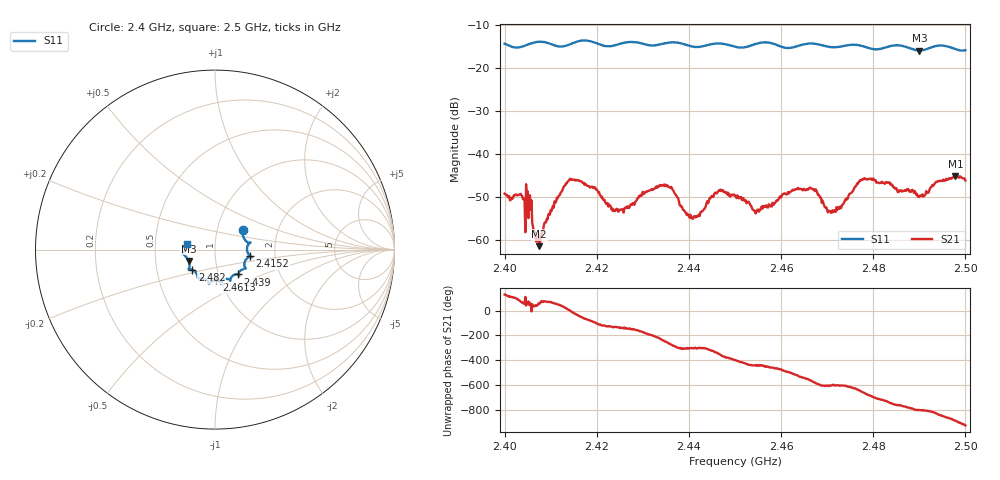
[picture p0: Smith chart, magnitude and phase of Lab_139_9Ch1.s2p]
# Hz S RI R 50
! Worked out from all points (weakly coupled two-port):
!   601 points, 2.4 GHz to 2.5 GHz, reference 50 ohm
!   highest |S21| = -45.16 dB at 2.4978 GHz (marker M1); lowest = -61.5 dB at 2.4075 GHz (marker M2)
!   lowest |S11| = -15.9 dB at 2.49 GHz (marker M3), VSWR 1.38, Z = 36.9 - j4.8 ohm
!   |S11| at or under -10 dB: start of sweep to end of sweep
!   S12 and S22 are empty: the file has one direction only
!   S11 on the Smith chart (normalised r, x): 2.4 GHz: 1.33, +0.31; 2.4152 GHz: 1.48, -0.11; 2.439 GHz: 1.24, -0.36; 2.4613 GHz: 0.96, -0.34; 2.482 GHz: 0.76, -0.18; 2.5 GHz: 0.73, +0.05
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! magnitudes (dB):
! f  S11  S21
! 2.4 GHz  -14.3  -49.3
! 2.4052 GHz  -14.5  -55.0
! 2.4075 GHz  -13.9  -61.5
! 2.4128 GHz  -14.9  -47.7
! 2.4152 GHz  -14.1  -46.0
! 2.4167 GHz  -13.6  -46.5
! 2.4243 GHz  -14.6  -52.8
! 2.4333 GHz  -14.6  -47.8
! 2.4362 GHz  -14.0  -47.7
! 2.439 GHz  -14.5  -53.2
! 2.4468 GHz  -14.3  -48.3
! 2.45 GHz  -15.0  -49.9
! 2.4548 GHz  -14.3  -53.1
! 2.4613 GHz  -15.3  -49.3
! 2.4667 GHz  -14.3  -48.1
! 2.4713 GHz  -15.2  -53.6
! 2.4777 GHz  -14.9  -45.9
! 2.482 GHz  -15.4  -46.8
! 2.4833 GHz  -15.0  -46.7
! 2.49 GHz  -15.9  -50.1
! 2.4978 GHz  -15.6  -45.2
! 2.5 GHz  -15.8  -46.2
